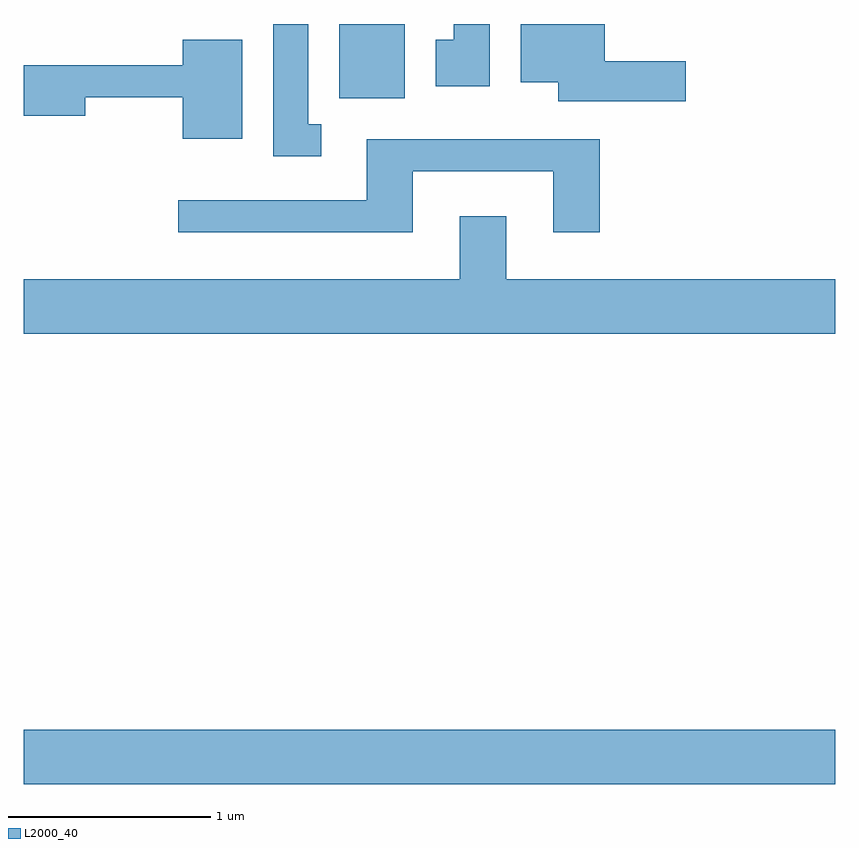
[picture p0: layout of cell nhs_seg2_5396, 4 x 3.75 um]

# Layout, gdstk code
import gdstk
lib = gdstk.Library(unit=1e-6, precision=1e-09)
def R(c, l, rs):  # rectangles x0, y0, x1, y1
    for r in rs: c.add(gdstk.rectangle(r[:2], r[2:], *l))
def P(c, l, *ps):  # polygons
    for p in ps: c.add(gdstk.Polygon(p, *l))
L2000_40 = (2000, 40)

nhs_seg2_5396 = lib.new_cell('nhs_seg2_5396')
R(nhs_seg2_5396, L2000_40, [(343.611,1086.056,347.611,1086.324), (345.166,1089.436,345.489,1089.802)])
P(nhs_seg2_5396, L2000_40, [(345.078,1089.309),(345.014,1089.309),(345.014,1089.802),(344.841,1089.802),(344.841,1089.151),(345.078,1089.151)],
  [(345.909,1089.802),(345.731,1089.802),(345.731,1089.724),(345.641,1089.724),(345.641,1089.496),(345.909,1089.496)],
  [(346.874,1089.619),(346.474,1089.619),(346.474,1089.802),(346.061,1089.802),(346.061,1089.516),(346.246,1089.516),(346.246,1089.421),(346.874,1089.421)],
  [(344.689,1089.724),(344.396,1089.724),(344.396,1089.599),(343.611,1089.599),(343.611,1089.351),(343.914,1089.351),(343.914,1089.441),(344.396,1089.441),(344.396,1089.236),(344.689,1089.236)],
  [(345.529,1089.076),(346.221,1089.076),(346.221,1088.776),(346.449,1088.776),(346.449,1089.234),(345.301,1089.234),(345.301,1088.934),(344.373,1088.934),(344.373,1088.776),(345.529,1088.776)],
  [(347.611,1088.544),(345.989,1088.544),(345.989,1088.854),(345.761,1088.854),(345.761,1088.544),(343.611,1088.544),(343.611,1088.276),(347.611,1088.276)])

lib.write_gds('nhs_seg2_5396.gds')
